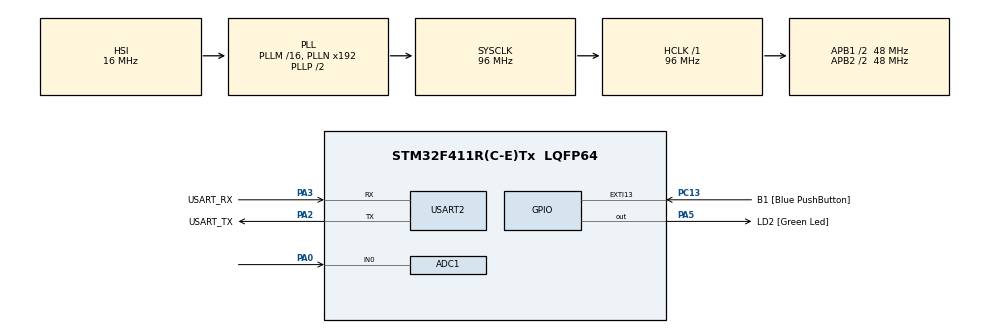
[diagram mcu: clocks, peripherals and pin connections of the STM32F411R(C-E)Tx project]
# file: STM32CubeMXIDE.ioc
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ADC1.Channel-6\#ChannelRegularConversion=ADC_CHANNEL_0
ADC1.ClockPrescaler=ADC_CLOCK_SYNC_PCLK_DIV2
ADC1.NbrOfConversionFlag=1
ADC1.Rank-6\#ChannelRegularConversion=1
ADC1.SamplingTime-6\#ChannelRegularConversion=ADC_SAMPLETIME_480CYCLES
ADC1.master=1
FREERTOS.BinarySemaphores01=sem_done_reading,Dynamic,NULL,Available
FREERTOS.Queues01=msg_queue,5,Message,0,Dynamic,NULL,NULL
FREERTOS.Tasks01=do_CLI,24,1024,doCLI,Default,NULL,Dynamic,NULL,NULL;calc_Average,32,1024,calcAverage,Default,NULL,Dynamic,NULL,NULL
FREERTOS.configGENERATE_RUN_TIME_STATS=1
FREERTOS.configUSE_STATS_FORMATTING_FUNCTIONS=1
Mcu.Family=STM32F4
Mcu.Name=STM32F411R(C-E)Tx
Mcu.Package=LQFP64
NVIC.PriorityGroup=NVIC_PRIORITYGROUP_4
NVIC.TIM1_TRG_COM_TIM11_IRQn=true\:15\:0\:true\:false\:true\:false\:false\:true\:true
NVIC.TIM3_IRQn=true\:14\:0\:true\:false\:true\:true\:true\:true\:true
NVIC.TIM4_IRQn=true\:5\:0\:false\:false\:true\:true\:true\:true\:true
NVIC.TimeBase=TIM1_TRG_COM_TIM11_IRQn
NVIC.TimeBaseIP=TIM11
PA0-WKUP.Signal=ADCx_IN0
PA13.GPIO_Label=TMS
PA13.Mode=Trace_Asynchronous_SW
PA13.Signal=SYS_JTMS-SWDIO
PA14.GPIO_Label=TCK
PA14.Mode=Trace_Asynchronous_SW
PA14.Signal=SYS_JTCK-SWCLK
PA2.GPIO_Label=USART_TX
PA2.Mode=Asynchronous
PA2.Signal=USART2_TX
PA3.GPIO_Label=USART_RX
PA3.Mode=Asynchronous
PA3.Signal=USART2_RX
PA5.GPIO_Label=LD2 [Green Led]
PA5.Signal=GPIO_Output
PB3.GPIO_Label=SWO
PB3.Mode=Trace_Asynchronous_SW
PB3.Signal=SYS_JTDO-SWO
PC13-ANTI_TAMP.GPIO_Label=B1 [Blue PushButton]
PC13-ANTI_TAMP.GPIO_ModeDefaultEXTI=GPIO_MODE_IT_FALLING
PC13-ANTI_TAMP.Signal=GPXTI13
PC14-OSC32_IN.Mode=LSE-External-Oscillator
PC14-OSC32_IN.Signal=RCC_OSC32_IN
PC15-OSC32_OUT.Mode=LSE-External-Oscillator
PC15-OSC32_OUT.Signal=RCC_OSC32_OUT
PH0\ -\ OSC_IN.Mode=HSE-External-Clock-Source
PH0\ -\ OSC_IN.Signal=RCC_OSC_IN
PH1\ -\ OSC_OUT.Mode=HSE-External-Clock-Source
PH1\ -\ OSC_OUT.Signal=RCC_OSC_OUT
ProjectManager.HeapSize=0x200
ProjectManager.StackSize=0x400
ProjectManager.TargetToolchain=STM32CubeIDE
RCC.48MHZClocksFreq_Value=48000000
RCC.AHBFreq_Value=96000000
RCC.APB1CLKDivider=RCC_HCLK_DIV2
RCC.APB1Freq_Value=48000000
RCC.APB1TimFreq_Value=96000000
RCC.APB2CLKDivider=RCC_HCLK_DIV2
RCC.APB2Freq_Value=48000000
RCC.APB2TimFreq_Value=96000000
RCC.CortexFreq_Value=96000000
RCC.HCLKFreq_Value=96000000
RCC.HSE_VALUE=8000000
RCC.HSI_VALUE=16000000
RCC.SYSCLKFreq_VALUE=96000000
RCC.SYSCLKSource=RCC_SYSCLKSOURCE_PLLCLK
RCC.VCOOutputFreq_Value=192000000
SH.ADCx_IN0.0=ADC1_IN0,IN0
TIM3.Period=399
TIM3.Prescaler=23999
TIM4.Period=99
TIM4.Prescaler=95
USART2.VirtualMode=VM_ASYNC
VP_FREERTOS_VS_CMSIS_V2.Mode=CMSIS_V2
VP_SYS_VS_tim11.Mode=TIM11
VP_TIM3_VS_ClockSourceINT.Mode=Internal
VP_TIM4_VS_ClockSourceINT.Mode=Internal
board=NUCLEO-F411RE

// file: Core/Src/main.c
/* USER CODE BEGIN Header */
/**
  ******************************************************************************
  * @file           : main.c
  * @brief          : Main program body
  ******************************************************************************
  * @attention
  *
  * Copyright (c) 2026 STMicroelectronics.
  * All rights reserved.
  *
  * This software is licensed under terms that can be found in the LICENSE file
  * in the root directory of this software component.
  * If no LICENSE file comes with this software, it is provided AS-IS.
  *
  ******************************************************************************
  */
/* USER CODE END Header */
#include "main.h"
#include "cmsis_os.h"

/* USER CODE BEGIN Includes */
#include "stdlib.h"
#include "string.h"
#include <stdio.h>

#include "stm32f4xx.h"
/* USER CODE END Includes */

ADC_HandleTypeDef hadc1;

TIM_HandleTypeDef htim3;
TIM_HandleTypeDef htim4;

UART_HandleTypeDef huart2;

/* Definitions for do_CLI */
osThreadId_t do_CLIHandle;
const osThreadAttr_t do_CLI_attributes = {
  .name = "do_CLI",
  .stack_size = 1024 * 4,
  .priority = (osPriority_t) osPriorityNormal,
};
/* Definitions for calc_Average */
osThreadId_t calc_AverageHandle;
const osThreadAttr_t calc_Average_attributes = {
  .name = "calc_Average",
  .stack_size = 1024 * 4,
  .priority = (osPriority_t) osPriorityAboveNormal,
};
/* Definitions for msg_queue */
osMessageQueueId_t msg_queueHandle;
const osMessageQueueAttr_t msg_queue_attributes = {
  .name = "msg_queue"
};
/* Definitions for sem_done_reading */
osSemaphoreId_t sem_done_readingHandle;
const osSemaphoreAttr_t sem_done_reading_attributes = {
  .name = "sem_done_reading"
};
/* USER CODE BEGIN PV */
volatile unsigned long ulHighFrequencyTimerTicks;

/* USER CODE END PV */

void SystemClock_Config(void);
static void MX_GPIO_Init(void);
static void MX_USART2_UART_Init(void);
static void MX_TIM3_Init(void);
static void MX_ADC1_Init(void);
static void MX_TIM4_Init(void);
void doCLI(void *argument);
void calcAverage(void *argument);

/* USER CODE BEGIN 0 */

// Settings
enum { BUF_LEN = 10 };      // Number of elements in sample buffer
enum { MSG_LEN = 100 };     // Max characters in message body
enum { CMD_BUF_LEN = 255};  // Number of characters in command buffer

// Message struct to wrap strings for queue
typedef struct Message {
  char body[MSG_LEN];
} Message;

// Globals
static volatile uint16_t buf_0[BUF_LEN];      // One buffer in the pair
static volatile uint16_t buf_1[BUF_LEN];      // The other buffer in the pair
static volatile uint16_t* write_to = buf_0;   // Double buffer write pointer
static volatile uint16_t* read_from = buf_1;  // Double buffer read pointer
static volatile uint8_t buf_overrun = 0;      // Double buffer overrun flag
static float adc_avg;

/* USER CODE END 0 */

int main(void)
{

  /* MCU Configuration--------------------------------------------------------*/

  /* Reset of all peripherals, Initializes the Flash interface and the Systick. */
  HAL_Init();

  /* Configure the system clock */
  SystemClock_Config();

  /* USER CODE BEGIN SysInit */
  xTraceEnable(TRC_START);
  /* USER CODE END SysInit */

  /* Initialize all configured peripherals */
  MX_GPIO_Init();
  MX_USART2_UART_Init();
  MX_TIM3_Init();
  MX_ADC1_Init();
  MX_TIM4_Init();
  /* USER CODE BEGIN 2 */

  HAL_TIM_Base_Start_IT(&htim3);

  /* USER CODE END 2 */

  /* Init scheduler */
  osKernelInitialize();

  /* Create the semaphores(s) */
  /* creation of sem_done_reading */
  sem_done_readingHandle = osSemaphoreNew(1, 1, &sem_done_reading_attributes);

  /* Create the queue(s) */
  /* creation of msg_queue */
  msg_queueHandle = osMessageQueueNew (5, sizeof(Message), &msg_queue_attributes);

  /* Create the thread(s) */
  /* creation of do_CLI */
  do_CLIHandle = osThreadNew(doCLI, NULL, &do_CLI_attributes);

  /* creation of calc_Average */
  calc_AverageHandle = osThreadNew(calcAverage, NULL, &calc_Average_attributes);

  /* Start scheduler */
  osKernelStart();

  /* We should never get here as control is now taken by the scheduler */

  /* Infinite loop */
  while (1)
  {

  }
}

void SystemClock_Config(void)
{
  RCC_OscInitTypeDef RCC_OscInitStruct = {0};
  RCC_ClkInitTypeDef RCC_ClkInitStruct = {0};

  /** Configure the main internal regulator output voltage
  */
  __HAL_RCC_PWR_CLK_ENABLE();
  __HAL_PWR_VOLTAGESCALING_CONFIG(PWR_REGULATOR_VOLTAGE_SCALE1);

  /** Initializes the RCC Oscillators according to the specified parameters
  * in the RCC_OscInitTypeDef structure.
  */
  RCC_OscInitStruct.OscillatorType = RCC_OSCILLATORTYPE_HSI;
  RCC_OscInitStruct.HSIState = RCC_HSI_ON;
  RCC_OscInitStruct.HSICalibrationValue = RCC_HSICALIBRATION_DEFAULT;
  RCC_OscInitStruct.PLL.PLLState = RCC_PLL_ON;
  RCC_OscInitStruct.PLL.PLLSource = RCC_PLLSOURCE_HSI;
  RCC_OscInitStruct.PLL.PLLM = 16;
  RCC_OscInitStruct.PLL.PLLN = 192;
  RCC_OscInitStruct.PLL.PLLP = RCC_PLLP_DIV2;
  RCC_OscInitStruct.PLL.PLLQ = 4;
  if (HAL_RCC_OscConfig(&RCC_OscInitStruct) != HAL_OK)
  {
    Error_Handler();
  }

  /** Initializes the CPU, AHB and APB buses clocks
  */
  RCC_ClkInitStruct.ClockType = RCC_CLOCKTYPE_HCLK|RCC_CLOCKTYPE_SYSCLK
                              |RCC_CLOCKTYPE_PCLK1|RCC_CLOCKTYPE_PCLK2;
  RCC_ClkInitStruct.SYSCLKSource = RCC_SYSCLKSOURCE_PLLCLK;
  RCC_ClkInitStruct.AHBCLKDivider = RCC_SYSCLK_DIV1;
  RCC_ClkInitStruct.APB1CLKDivider = RCC_HCLK_DIV2;
  RCC_ClkInitStruct.APB2CLKDivider = RCC_HCLK_DIV2;

  if (HAL_RCC_ClockConfig(&RCC_ClkInitStruct, FLASH_LATENCY_3) != HAL_OK)
  {
    Error_Handler();
  }
}

static void MX_ADC1_Init(void)
{

  ADC_ChannelConfTypeDef sConfig = {0};

  /** Configure the global features of the ADC (Clock, Resolution, Data Alignment and number of conversion)
  */
  hadc1.Instance = ADC1;
  hadc1.Init.ClockPrescaler = ADC_CLOCK_SYNC_PCLK_DIV2;
  hadc1.Init.Resolution = ADC_RESOLUTION_12B;
  hadc1.Init.ScanConvMode = DISABLE;
  hadc1.Init.ContinuousConvMode = DISABLE;
  hadc1.Init.DiscontinuousConvMode = DISABLE;
  hadc1.Init.ExternalTrigConvEdge = ADC_EXTERNALTRIGCONVEDGE_NONE;
  hadc1.Init.ExternalTrigConv = ADC_SOFTWARE_START;
  hadc1.Init.DataAlign = ADC_DATAALIGN_RIGHT;
  hadc1.Init.NbrOfConversion = 1;
  hadc1.Init.DMAContinuousRequests = DISABLE;
  hadc1.Init.EOCSelection = ADC_EOC_SINGLE_CONV;
  if (HAL_ADC_Init(&hadc1) != HAL_OK)
  {
    Error_Handler();
  }

  /** Configure for the selected ADC regular channel its corresponding rank in the sequencer and its sample time.
  */
  sConfig.Channel = ADC_CHANNEL_0;
  sConfig.Rank = 1;
  sConfig.SamplingTime = ADC_SAMPLETIME_480CYCLES;
  if (HAL_ADC_ConfigChannel(&hadc1, &sConfig) != HAL_OK)
  {
    Error_Handler();
  }

}

static void MX_TIM3_Init(void)
{

  TIM_ClockConfigTypeDef sClockSourceConfig = {0};
  TIM_MasterConfigTypeDef sMasterConfig = {0};

  htim3.Instance = TIM3;
  htim3.Init.Prescaler = 23999;
  htim3.Init.CounterMode = TIM_COUNTERMODE_UP;
  htim3.Init.Period = 399;
  htim3.Init.ClockDivision = TIM_CLOCKDIVISION_DIV1;
  htim3.Init.AutoReloadPreload = TIM_AUTORELOAD_PRELOAD_DISABLE;
  if (HAL_TIM_Base_Init(&htim3) != HAL_OK)
  {
    Error_Handler();
  }
  sClockSourceConfig.ClockSource = TIM_CLOCKSOURCE_INTERNAL;
  if (HAL_TIM_ConfigClockSource(&htim3, &sClockSourceConfig) != HAL_OK)
  {
    Error_Handler();
  }
  sMasterConfig.MasterOutputTrigger = TIM_TRGO_RESET;
  sMasterConfig.MasterSlaveMode = TIM_MASTERSLAVEMODE_DISABLE;
  if (HAL_TIMEx_MasterConfigSynchronization(&htim3, &sMasterConfig) != HAL_OK)
  {
    Error_Handler();
  }

}

static void MX_TIM4_Init(void)
{

  TIM_ClockConfigTypeDef sClockSourceConfig = {0};
  TIM_MasterConfigTypeDef sMasterConfig = {0};

  htim4.Instance = TIM4;
  htim4.Init.Prescaler = 95;
  htim4.Init.CounterMode = TIM_COUNTERMODE_UP;
  htim4.Init.Period = 99;
  htim4.Init.ClockDivision = TIM_CLOCKDIVISION_DIV1;
  htim4.Init.AutoReloadPreload = TIM_AUTORELOAD_PRELOAD_DISABLE;
  if (HAL_TIM_Base_Init(&htim4) != HAL_OK)
  {
    Error_Handler();
  }
  sClockSourceConfig.ClockSource = TIM_CLOCKSOURCE_INTERNAL;
  if (HAL_TIM_ConfigClockSource(&htim4, &sClockSourceConfig) != HAL_OK)
  {
    Error_Handler();
  }
  sMasterConfig.MasterOutputTrigger = TIM_TRGO_RESET;
  sMasterConfig.MasterSlaveMode = TIM_MASTERSLAVEMODE_DISABLE;
  if (HAL_TIMEx_MasterConfigSynchronization(&htim4, &sMasterConfig) != HAL_OK)
  {
    Error_Handler();
  }

}

static void MX_USART2_UART_Init(void)
{

  huart2.Instance = USART2;
  huart2.Init.BaudRate = 115200;
  huart2.Init.WordLength = UART_WORDLENGTH_8B;
  huart2.Init.StopBits = UART_STOPBITS_1;
  huart2.Init.Parity = UART_PARITY_NONE;
  huart2.Init.Mode = UART_MODE_TX_RX;
  huart2.Init.HwFlowCtl = UART_HWCONTROL_NONE;
  huart2.Init.OverSampling = UART_OVERSAMPLING_16;
  if (HAL_UART_Init(&huart2) != HAL_OK)
  {
    Error_Handler();
  }

}

static void MX_GPIO_Init(void)
{
  GPIO_InitTypeDef GPIO_InitStruct = {0};

  /* GPIO Ports Clock Enable */
  __HAL_RCC_GPIOC_CLK_ENABLE();
  __HAL_RCC_GPIOH_CLK_ENABLE();
  __HAL_RCC_GPIOA_CLK_ENABLE();
  __HAL_RCC_GPIOB_CLK_ENABLE();

  /*Configure GPIO pin Output Level */
  HAL_GPIO_WritePin(LD2_GPIO_Port, LD2_Pin, GPIO_PIN_RESET);

  /*Configure GPIO pin : B1_Pin */
  GPIO_InitStruct.Pin = B1_Pin;
  GPIO_InitStruct.Mode = GPIO_MODE_IT_FALLING;
  GPIO_InitStruct.Pull = GPIO_NOPULL;
  HAL_GPIO_Init(B1_GPIO_Port, &GPIO_InitStruct);

  /*Configure GPIO pin : LD2_Pin */
  GPIO_InitStruct.Pin = LD2_Pin;
  GPIO_InitStruct.Mode = GPIO_MODE_OUTPUT_PP;
  GPIO_InitStruct.Pull = GPIO_NOPULL;
  GPIO_InitStruct.Speed = GPIO_SPEED_FREQ_LOW;
  HAL_GPIO_Init(LD2_GPIO_Port, &GPIO_InitStruct);

}

/* USER CODE BEGIN 4 */

#ifdef __GNUC__
#define PUTCHAR_PROTOTYPE int __io_putchar(int ch)
#define GETCHAR_PROTOTYPE int __io_getchar(void)
#else
#define PUTCHAR_PROTOTYPE int fputc(int ch, FILE *f)
#define GETCHAR_PROTOTYPE int fgetc(FILE *f)
#endif

void configureTimerForRunTimeStats(void)
{
	ulHighFrequencyTimerTicks = 0;
	HAL_TIM_Base_Start_IT(&htim4);
}

unsigned long getRunTimeCounterValue(void)
{
	return ulHighFrequencyTimerTicks;
}

PUTCHAR_PROTOTYPE
{
	HAL_UART_Transmit(&huart2, (uint8_t *)&ch, 1,HAL_MAX_DELAY);
	return ch;
}

GETCHAR_PROTOTYPE
{
	uint8_t ch = 0;

	/* Clear the Overrun flag just before receiving the first character */
	__HAL_UART_CLEAR_OREFLAG(&huart2);

	/* Wait for reception of a character on the USART RX line and echo this
	* character on console */
	HAL_UART_Receive(&huart2, (uint8_t *)&ch, 1, HAL_MAX_DELAY);
    /* Handle carriage return specially */
    if (ch == '\r') {
        /* Send CR+LF for proper newline */
        uint8_t newline[] = {'\r', '\n'};
        HAL_UART_Transmit(&huart2, newline, 2, HAL_MAX_DELAY);
        return '\n';  /* Return newline to satisfy scanf */
    }
    else
    {
        /* Echo back other characters normally */
        HAL_UART_Transmit(&huart2, (uint8_t *)&ch, 1, HAL_MAX_DELAY);
        return ch;
    }

	return ch;
}

void swap(void)
{
  volatile uint16_t* temp_ptr = write_to;
  write_to = read_from;
  read_from = temp_ptr;
}

uint16_t analogRead(void)
{
	HAL_ADC_Start(&hadc1);
	HAL_ADC_PollForConversion(&hadc1,100);
	return HAL_ADC_GetValue(&hadc1);
}

// This function executes when timer reaches max (and resets)
void  onTimer(void) {

  static uint16_t idx = 0;

  // If buffer is not overrun, read ADC to next buffer element. If buffer is
  // overrun, drop the sample.
  if ((idx < BUF_LEN) && (buf_overrun == 0)) {
    write_to[idx] = analogRead();
    idx++;
  }

  // Check if the buffer is full
  if (idx >= BUF_LEN) {

    // If reading is not done, set overrun flag. We don't need to set this
    // as a critical section, as nothing can interrupt and change either value.
    if (osSemaphoreAcquire(sem_done_readingHandle, 0) != osOK) {
      buf_overrun = 1;
    }

    // Only swap buffers and notify task if overrun flag is cleared
    if (buf_overrun == 0) {

      // Reset index and swap buffer pointers
      idx = 0;
      swap();

      // A task notification works like a binary semaphore but is faster
      osThreadFlagsSet(calc_AverageHandle, //TaskHandle for calcAverage Task
    		           0x01);         // This is flag mask (sets bit 0)
    }
  }
}

/* USER CODE END 4 */

void doCLI(void *argument)
{
  /* USER CODE BEGIN 5 */
  /* Infinite loop */
	Message rcv_msg;
    char cmd_buf[CMD_BUF_LEN];
	char serial_input[20];

    // Clear whole buffer
	memset(cmd_buf, 0, CMD_BUF_LEN);

	while(1)
	{
		// Look for any error messages that need to be printed
		if (osMessageQueueGet(msg_queueHandle, (void *)&rcv_msg, NULL, 0) == osOK)
		{
		  printf("%s",rcv_msg.body);
		}
		//Read value
		setvbuf(stdin, NULL, _IONBF, 0);
		scanf("%20s",serial_input);
		if(strcmp(serial_input, "avg") == 0)
		{
			printf("Average is %f\r\n",adc_avg);
		}
	}
  /* USER CODE END 5 */
}

void calcAverage(void *argument)
{
  /* USER CODE BEGIN calcAverage */
  /* Infinite loop */
    Message msg;
    float avg;

	while(1)
	{
	    // Wait for notification from ISR (similar to binary semaphore)
		osThreadFlagsWait(0x01 ,           // Wait for flag bit 0
				          osFlagsWaitAny,  // waits until any bit (in our case bit0) is set
						  osWaitForever);  //No Timeout

	    // Calculate average (as floating point value)
	    avg = 0.0;
	    for (int i = 0; i < BUF_LEN; i++) {
	      avg += (float)read_from[i];
	      //vTaskDelay(105 / portTICK_PERIOD_MS); // Uncomment to test overrun flag
	    }
	    avg /= BUF_LEN;

	    // Updating the shared float may or may not take multiple isntructions, so
	    // we protect it with a mutex or critical section.
	    __disable_irq();
	    adc_avg = avg;
	    __enable_irq();

	    // If we took too long to process, buffer writing will have overrun. So,
	    // we send a message to be printed out to the serial terminal.
	    if (buf_overrun == 1) {
	      strcpy(msg.body, "Error: Buffer overrun. Samples have been dropped.");
	      osMessageQueuePut(msg_queueHandle, (void *)&msg, 0, 10);
	    }

	    // Clearing the overrun flag and giving the "done reading" semaphore must
	    // be done together without being interrupted.
	    __disable_irq();
	    buf_overrun = 0;
	    osSemaphoreRelease(sem_done_readingHandle);
	    __enable_irq();
	}
  /* USER CODE END calcAverage */
}

void HAL_TIM_PeriodElapsedCallback(TIM_HandleTypeDef *htim)
{
  if (htim->Instance == TIM11)
  {
    HAL_IncTick();
  }
  /* USER CODE BEGIN Callback 1 */

  if (htim->Instance == TIM3)
  {
	  onTimer();
  }

  if (htim->Instance == TIM4)
  {
	 ++ulHighFrequencyTimerTicks;
  }

  /* USER CODE END Callback 1 */
}

void Error_Handler(void)
{
  __disable_irq();
  while (1)
  {
  }
}
